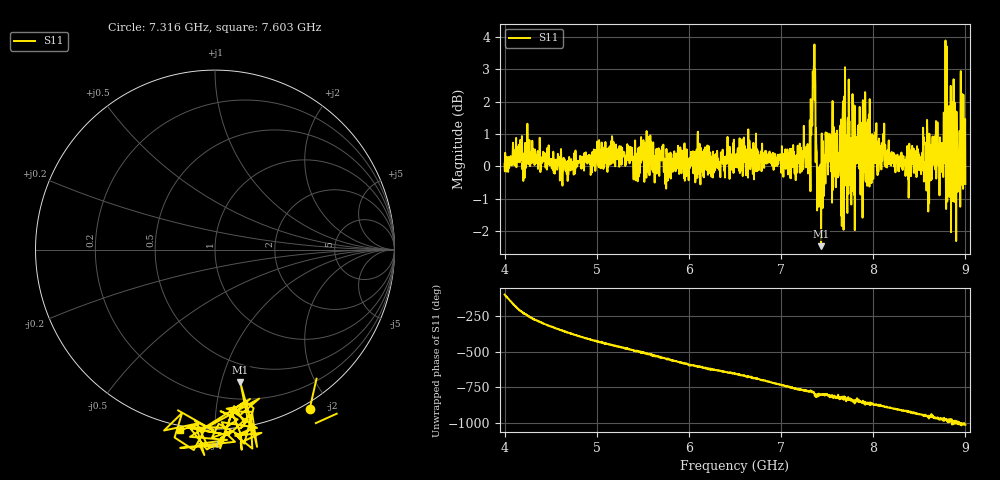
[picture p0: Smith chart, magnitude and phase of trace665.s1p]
! Created with skrf 1.8.0 (http://scikit-rf.org).
# Hz S RI R 50.0
!freq ReS11 ImS11
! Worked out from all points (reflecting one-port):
!   1601 points, 4 GHz to 9 GHz, reference 50 ohm
!   lowest |S11| = -2.5 dB at 7.434 GHz (marker M1), VSWR 7.08, Z = 16.9 - j57.6 ohm
!   phase of S11 starts at -101 deg and turns -911 deg over the sweep
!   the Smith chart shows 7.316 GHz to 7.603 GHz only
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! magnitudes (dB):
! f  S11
! 4 GHz  0.1
! 4.247 GHz  1.3
! 4.625 GHz  -0.5
! 5.25 GHz  0.5
! 5.875 GHz  -0.1
! 6.5 GHz  0.1
! 7.125 GHz  0.0
! 7.294 GHz  -0.2
! 7.347 GHz  2.6
! 7.366 GHz  2.0
! 7.4 GHz  -0.4
! 7.434 GHz  -2.5
! 7.509 GHz  -0.3
! 7.606 GHz  1.1
! 7.688 GHz  2.2
! 7.75 GHz  -0.6
! 7.769 GHz  -0.6
! 7.828 GHz  0.9
! 7.884 GHz  -1.6
! 7.928 GHz  0.8
! 8.375 GHz  -0.2
! 8.562 GHz  0.1
! 8.616 GHz  0.5
! 8.788 GHz  -0.4
! 8.844 GHz  -2.0
! 8.919 GHz  -0.6
! 8.972 GHz  0.8
! 9 GHz  -0.5
